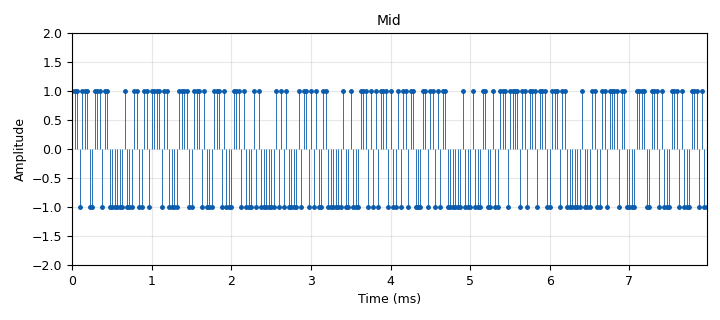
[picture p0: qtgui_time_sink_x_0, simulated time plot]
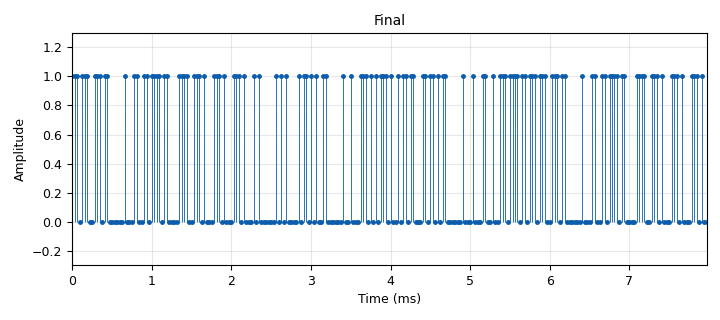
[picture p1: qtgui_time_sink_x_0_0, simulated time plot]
options:
  parameters:
    author: rcampello
    generate_options: qt_gui
    id: T1
    output_language: python
    title: T1
  states: {}

blocks:
- name: FB
  id: variable
  parameters:
    value: '32000'
  states: {}
- name: gain
  id: variable_qtgui_range
  parameters:
    gui_hint: 0, 0, 1, 1
    orient: Qt.Horizontal
    start: '0'
    step: '0.1'
    stop: '2'
    value: '1'
  states: {}
- name: sym_dly
  id: variable_qtgui_range
  parameters:
    gui_hint: 0, 1, 1, 1
    orient: Qt.Horizontal
    rangeType: int
    start: '0'
    step: '1'
    stop: '16'
    value: '0'
  states: {}
- name: blocks_add_const_vxx_0
  id: blocks_add_const_vxx
  parameters:
    const: '-1'
    type: float
  states: {}
- name: blocks_char_to_float_0
  id: blocks_char_to_float
  parameters:
    scale: '0.5'
  states: {}
- name: blocks_char_to_float_0_0
  id: blocks_char_to_float
  parameters:
    scale: '1'
  states: {}
- name: blocks_delay_0
  id: blocks_delay
  parameters:
    delay: sym_dly
    type: byte
  states: {}
- name: blocks_file_sink_0
  id: blocks_file_sink
  parameters:
    file: /dev/pts/5
    type: byte
  states: {}
- name: blocks_multiply_const_vxx_0
  id: blocks_multiply_const_vxx
  parameters:
    const: gain
    type: float
  states: {}
- name: blocks_packed_to_unpacked_xx_0
  id: blocks_packed_to_unpacked_xx
  parameters:
    bits_per_chunk: '1'
    endianness: gr.GR_LSB_FIRST
    type: byte
  states: {}
- name: blocks_throttle_0
  id: blocks_throttle
  parameters:
    samples_per_second: FB
    type: byte
  states: {}
- name: blocks_unpacked_to_packed_xx_0
  id: blocks_unpacked_to_packed_xx
  parameters:
    bits_per_chunk: '1'
    endianness: gr.GR_LSB_FIRST
    type: byte
  states: {}
- name: blocks_vector_source_x_0
  id: blocks_vector_source_x
  parameters:
    repeat: 'True'
    type: byte
    vector: list(ord(i) for i in 'The quick brown fox...\n')
  states: {}
- name: digital_binary_slicer_fb_0
  id: digital_binary_slicer_fb
  parameters: {}
  states: {}
- name: qtgui_time_sink_x_0
  id: qtgui_time_sink_x
  parameters:
    gui_hint: 1, 0, 3, 1
    marker1: '0'
    name: '"Mid"'
    size: 1024 // 4
    srate: FB
    stemplot: 'True'
    style1: '2'
    type: float
    ymax: '2'
    ymin: '-2'
  states: {}
- name: qtgui_time_sink_x_0_0
  id: qtgui_time_sink_x
  parameters:
    gui_hint: 1, 1, 3, 1
    marker1: '0'
    name: '"Final"'
    size: 1024 // 4
    srate: FB
    stemplot: 'True'
    style1: '2'
    type: float
    ymax: '1.3'
    ymin: '-0.3'
  states: {}
- name: qtgui_time_sink_x_0_1
  id: qtgui_time_sink_x
  parameters:
    name: '"Start"'
    size: '1024'
    srate: FB
    type: float
    ymax: '3'
  states: {state: disabled}

connections:
- [blocks_add_const_vxx_0, '0', blocks_multiply_const_vxx_0, '0']
- [blocks_char_to_float_0, '0', blocks_add_const_vxx_0, '0']
- [blocks_char_to_float_0, '0', qtgui_time_sink_x_0_1, '0']
- [blocks_char_to_float_0_0, '0', qtgui_time_sink_x_0_0, '0']
- [blocks_delay_0, '0', blocks_char_to_float_0_0, '0']
- [blocks_delay_0, '0', blocks_unpacked_to_packed_xx_0, '0']
- [blocks_multiply_const_vxx_0, '0', digital_binary_slicer_fb_0, '0']
- [blocks_multiply_const_vxx_0, '0', qtgui_time_sink_x_0, '0']
- [blocks_packed_to_unpacked_xx_0, '0', blocks_throttle_0, '0']
- [blocks_throttle_0, '0', blocks_char_to_float_0, '0']
- [blocks_unpacked_to_packed_xx_0, '0', blocks_file_sink_0, '0']
- [blocks_vector_source_x_0, '0', blocks_packed_to_unpacked_xx_0, '0']
- [digital_binary_slicer_fb_0, '0', blocks_delay_0, '0']

metadata:
  file_format: 1
